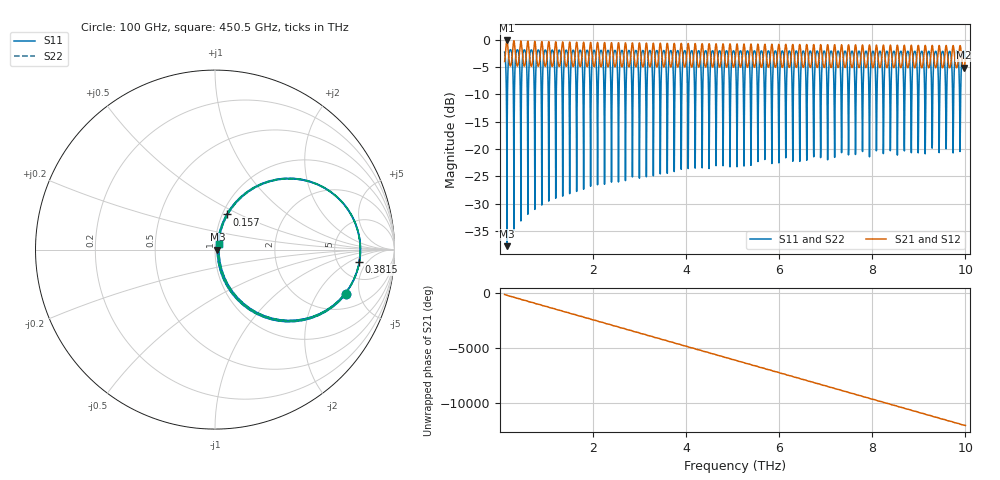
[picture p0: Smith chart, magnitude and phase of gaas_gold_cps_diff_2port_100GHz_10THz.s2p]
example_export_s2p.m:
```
% Export differential 2-port S-parameters (.s2p) using txlineRLCGLine.
% Assumptions:
%   - Cpul and Lpul constant with frequency
%   - Gpul = 0
%   - Rpul(f) from skin-depth model
%   - Port reference impedance Z0 = 100 Ohm (differential)

clear; clc;

% Geometry [m]
s = 20e-6;
t_au = 1e-6;
inner_gap = 50e-6;
g = inner_gap / 2;
h = 1e-6;
lineLength = 1e-3; % [m]

% Materials
eps_r_gaas = 12.9;
sigma_au = 4.10e7; % [S/m]

% Frequency sweep
fmin = 100e9;
fmax = 10e12;
Nfreq = 10000;
freq = logspace(log10(fmin), log10(fmax), Nfreq);

% Make root routines visible
this_file = mfilename('fullpath');
this_dir = fileparts(this_file);
repo_root = fileparts(fileparts(this_dir));
addpath(repo_root);

% Quasi-static C and L (constant over frequency)
qs = cps_single_layer_params(s, g, h, eps_r_gaas);
Cpul = qs.C_F_per_m;
Lpul = qs.Z_Ohm^2 * Cpul;

% Frequency-dependent differential Rpul (1xN)
rac = cps_rpul_matrix_skin(freq, s, t_au, sigma_au);
Rpul = rac.Rpul_Ohm_per_m;

% Export Touchstone
outfile = fullfile(this_dir, 'gaas_gold_cps_diff_2port_100GHz_10THz.s2p');
out = cps_export_s2p_txlineRLCGLine(outfile, fmin, fmax, Nfreq, lineLength, Cpul, Lpul, Rpul, 0);

% Plot
S = out.S2;
S11_dB = 20 * log10(abs(squeeze(S(1, 1, :))));
S21_dB = 20 * log10(abs(squeeze(S(2, 1, :))));

fig = figure('Visible', 'off');
semilogx(freq, S11_dB, 'LineWidth', 1.3); hold on;
semilogx(freq, S21_dB, 'LineWidth', 1.3);
grid on;
xlabel('Frequency [Hz]');
ylabel('Magnitude [dB]');
title('Differential CPS S-parameters (2-port, Z0 = 100 Ohm)');
legend('|S11|', '|S21|', 'Location', 'best');

plotfile = fullfile(this_dir, 'gaas_gold_cps_diff_2port_100GHz_10THz_plot.png');
exportgraphics(fig, plotfile, 'Resolution', 180);
close(fig);

fprintf('Touchstone file written:\n%s\n', out.filename);
fprintf('Plot written:\n%s\n', plotfile);
fprintf('f-range: %.3f GHz .. %.3f THz, N=%d\n', fmin/1e9, fmax/1e12, Nfreq);
fprintf('Z0 normalization: 100 Ohm\n');
```
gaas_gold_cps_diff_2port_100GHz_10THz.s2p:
# Hz S RI R 100
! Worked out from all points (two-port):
!   10000 points, 100 GHz to 10 THz, reference 100 ohm
!   highest |S21| = -0.14 dB at 149.6 GHz (marker M1); lowest = -5.1 dB at 9.963 THz (marker M2)
!   |S21| within 3 dB of the highest: 111.4 GHz to 187.8 GHz (76.43 GHz wide, 51.1 % of centre); 261.6 GHz to 337.3 GHz (75.76 GHz wide, 25.3 % of centre)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
!   lowest |S11| = -37.8 dB at 149.8 GHz (marker M3), VSWR 1.03, Z = 103 - j0.153 ohm
!   |S11| at or under -10 dB: 5.679897 THz to 5.704333 THz (24.44 GHz wide, 0.429 % of centre); 6.428799 THz to 6.45329 THz (24.49 GHz wide, 0.38 % of centre); 7.327536 THz to 7.352132 THz (24.6 GHz wide, 0.335 % of centre)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
!   |S22| runs from -37.8 to -1.8 dB; largest |S21 - S12| = 4.4e-16
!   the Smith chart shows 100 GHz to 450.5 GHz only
!   S11 on the Smith chart (normalised r, x): 100 GHz: 3.06, -3.69; 157 GHz: 1.05, +0.43; 381.5 GHz: 8.07, -3.16; 450.5 GHz: 1.05, +0.06
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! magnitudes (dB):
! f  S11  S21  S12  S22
! 100 GHz  -2.3  -4.0  -4.0  -2.3
! 149.6 GHz  -37.2  -0.1  -0.1  -37.2
! 149.8 GHz  -37.8  -0.1  -0.1  -37.8
! 157 GHz  -13.7  -0.3  -0.3  -13.7
! 299.8 GHz  -34.3  -0.2  -0.2  -34.3
! 381.5 GHz  -1.9  -4.8  -4.8  -1.9
! 450.5 GHz  -28.3  -0.2  -0.2  -28.3
! 522.2 GHz  -1.9  -4.8  -4.8  -1.9
! 5.051 THz  -3.0  -3.8  -3.8  -3.0
! 9.963 THz  -2.1  -5.1  -5.1  -2.1
! 10 THz  -3.7  -3.5  -3.5  -3.7
